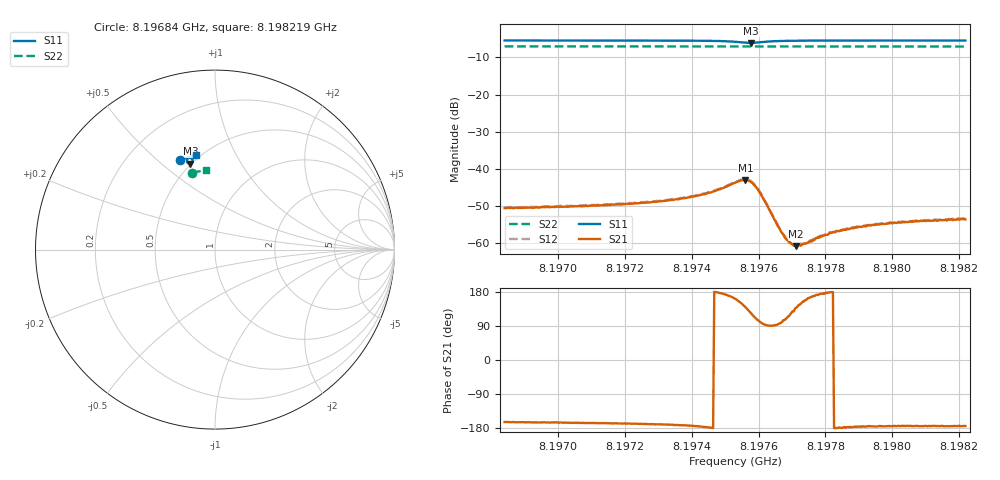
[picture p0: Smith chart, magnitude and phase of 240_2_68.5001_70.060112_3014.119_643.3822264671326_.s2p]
#  HZ  S  RI  R  50.00
! Rohde & Schwarz Vector Network Analyzer
! Rohde-Schwarz,ZNB20-2Port,1311601062101988,3.16
! Created: UTC 3/20/2024, 5:14:25 PM
! freq[Hz]  re:S11  im:S11  re:S21  im:S21  re:S12  im:S12  re:S22  im:S22
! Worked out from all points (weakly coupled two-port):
!   401 points, 8.19684 GHz to 8.198219 GHz, reference 50 ohm
!   highest |S21| = -42.95 dB at 8.197561 GHz (marker M1); lowest = -60.8 dB at 8.197712 GHz (marker M2)
!   lowest |S11| = -6.1 dB at 8.197578 GHz (marker M3), VSWR 2.98, Z = 24.7 + j31.4 ohm
!   |S11| at or under -10 dB: nowhere
!   |S22| runs from -7.1 to -7.0 dB; largest |S21 - S12| = 0.00034
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8.1968404e9  -0.1923 0.5005  -0.00285 -0.000839  -0.00296 -0.000733  -0.1271 0.428
8.1970712e9  -0.1756 0.506  -0.00304 -0.000756  -0.00315 -0.000675  -0.1145 0.4314
8.1973021e9  -0.157 0.511  -0.00362 -0.000663  -0.00368 -0.000531  -0.1016 0.4341
8.1973779e9  -0.1493 0.512  -0.004 -0.000544  -0.00412 -0.000384  -0.0974 0.4347
8.1974365e9  -0.142 0.5117  -0.00454 -0.000264  -0.00467 -0.000102  -0.094 0.4353
8.1974882e9  -0.133 0.509  -0.00541 0.000384  -0.0055 0.000614  -0.091 0.4359
8.1975295e9  -0.1251 0.4996  -0.0062 0.00206  -0.00623 0.00232  -0.0886 0.4359
8.1975605e9  -0.1271 0.4844  -0.00542 0.00462  -0.00536 0.00489  -0.0871 0.4359
8.1975777e9  -0.137 0.478  -0.00361 0.00558  -0.00351 0.00586  -0.0863 0.4358
8.1975915e9  -0.1462 0.479  -0.00199 0.00543  -0.00183 0.00562  -0.086 0.4361
8.1976053e9  -0.1529 0.4841  -0.000805 0.00461  -0.000632 0.00475  -0.0853 0.4362
8.1976604e9  -0.1538 0.5035  -0.00016 0.00162  -6.45e-05 0.00166  -0.0824 0.4373
8.1976777e9  -0.1515 0.5067  -0.000316 0.00116  -0.00027 0.00123  -0.0813 0.4375
8.1976949e9  -0.1494 0.5091  -0.000519 0.000878  -0.000476 0.000894  -0.0805 0.4377
8.1977121e9  -0.1472 0.5108  -0.000679 0.000611  -0.000668 0.000664  -0.0793 0.4379
8.1977362e9  -0.1444 0.5127  -0.000891 0.000426  -0.000882 0.00045  -0.078 0.4381
8.1977604e9  -0.1416 0.5142  -0.00104 0.000246  -0.00108 0.000276  -0.0765 0.4384
8.1977776e9  -0.1399 0.5151  -0.0012 0.000179  -0.0012 0.000195  -0.0756 0.4384
8.1978189e9  -0.136 0.5167  -0.00138 2.15e-05  -0.00139 7.41e-05  -0.0732 0.4388
8.1978878e9  -0.1296 0.5188  -0.00164 -0.000101  -0.00163 -4.12e-05  -0.0695 0.4395
8.1979912e9  -0.1212 0.5211  -0.00185 -0.000187  -0.0019 -0.000127  -0.0634 0.4401
8.1982186e9  -0.104 0.5248  -0.00209 -0.000215  -0.00215 -9.8e-05  -0.0507 0.4411
